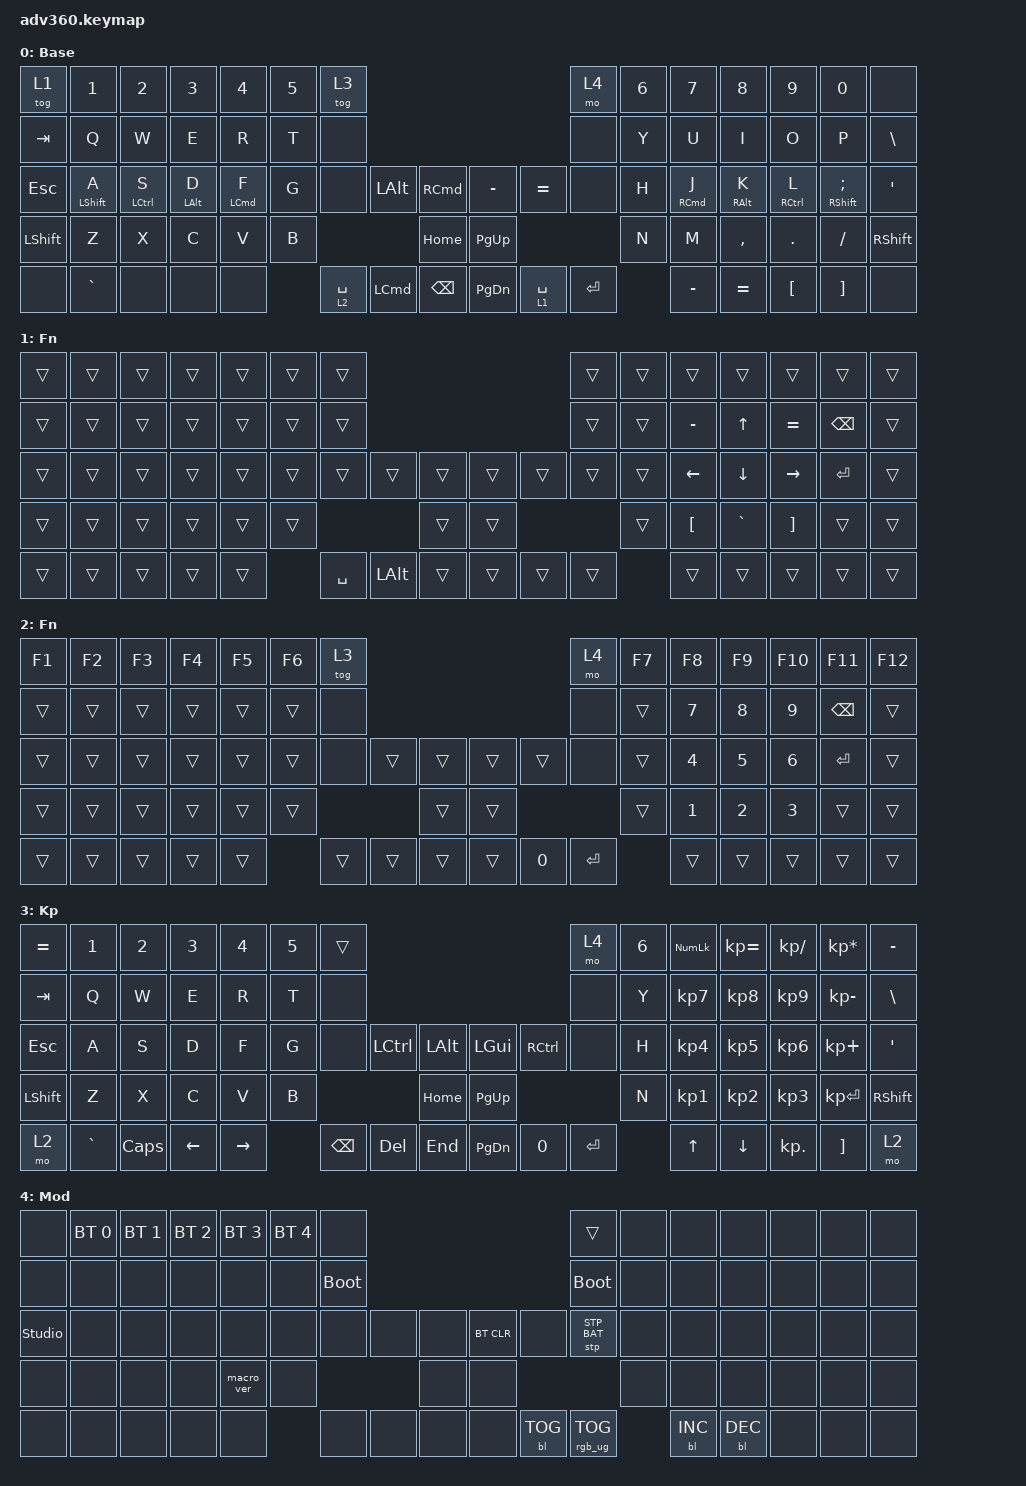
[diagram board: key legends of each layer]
#include <dt-bindings/zmk/stp.h>
#include <behaviors.dtsi>
#include <dt-bindings/zmk/backlight.h>
#include <dt-bindings/zmk/bt.h>
#include <dt-bindings/zmk/keys.h>
#include <dt-bindings/zmk/rgb.h>

/ {
    behaviors {
        #include "macros.dtsi"
      #include "version.dtsi"

        hm: homerow_mods {
            compatible = "zmk,behavior-hold-tap";
            label = "HOMEROW_MODS";
            #binding-cells = <2>;
            tapping-term-ms = <200>;
            quick_tap_ms = <175>;
            flavor = "tap-preferred";
            bindings = <&kp>, <&kp>;

            quick-tap-ms = <175>;
        };

        hm_mo_layer: hm_mo_layer {
            compatible = "zmk,behavior-hold-tap";
            label = "HM_MO_LAYER";
            bindings = <&mo>, <&kp>;

            #binding-cells = <2>;
            tapping-term-ms = <200>;
            flavor = "tap-preferred";
        };

        hm_toggle_layer: hm_toggle_layer {
            compatible = "zmk,behavior-hold-tap";
            label = "HM_TOGGLE_LAYER";
            bindings = <&tog>, <&kp>;

            #binding-cells = <2>;
            tapping-term-ms = <200>;
        };
    };

    keymap {
        compatible = "zmk,keymap";

        default_layer {
            display-name = "Base";
            bindings = <
&tog 1          &kp N1            &kp N2              &kp N3          &kp N4              &kp N5  &tog 3                                                                                          &mo 4      &kp N6  &kp N7               &kp N8           &kp N9               &kp N0                &none
&kp TAB         &kp Q             &kp W               &kp E           &kp R               &kp T   &none                                                                                           &none      &kp Y   &kp U                &kp I            &kp O                &kp P                 &kp BSLH
&kp ESC         &hm LEFT_SHIFT A  &hm LEFT_CONTROL S  &hm LEFT_ALT D  &hm LEFT_COMMAND F  &kp G   &none                 &kp LEFT_ALT      &kp RIGHT_COMMAND      &kp MINUS  &kp EQUAL             &none      &kp H   &hm RIGHT_COMMAND J  &hm RIGHT_ALT K  &hm RIGHT_CONTROL L  &hm RIGHT_SHIFT SEMI  &kp SQT
&kp LEFT_SHIFT  &kp Z             &kp X               &kp C           &kp V               &kp B                                           &kp HOME               &kp PG_UP                                   &kp N   &kp M                &kp COMMA        &kp DOT              &kp FSLH              &kp RSHFT
&none           &kp GRAVE         &none               &none           &none                       &hm_mo_layer 2 SPACE  &kp LEFT_COMMAND  &kp BACKSPACE          &kp PG_DN  &hm_mo_layer 1 SPACE  &kp ENTER          &kp MINUS            &kp EQUAL        &kp LBKT             &kp RBKT              &none
            >;
        };

        Nagivation {
            display-name = "Fn";
            bindings = <
&trans  &trans  &trans  &trans  &trans  &trans  &trans                                               &trans  &trans  &trans     &trans     &trans             &trans         &trans
&trans  &trans  &trans  &trans  &trans  &trans  &trans                                               &trans  &trans  &kp MINUS  &kp UP     &kp EQUAL          &kp BACKSPACE  &trans
&trans  &trans  &trans  &trans  &trans  &trans  &trans     &trans        &trans      &trans  &trans  &trans  &trans  &kp LEFT   &kp DOWN   &kp RIGHT          &kp ENTER      &trans
&trans  &trans  &trans  &trans  &trans  &trans                           &trans      &trans                  &trans  &kp LBKT   &kp GRAVE  &kp RIGHT_BRACKET  &trans         &trans
&trans  &trans  &trans  &trans  &trans          &kp SPACE  &kp LEFT_ALT  &trans      &trans  &trans  &trans          &trans     &trans     &trans             &trans         &trans
            >;
        };

        fn+numpad {
            display-name = "Fn";
            bindings = <
&kp F1  &kp F2  &kp F3  &kp F4  &kp F5  &kp F6  &tog 3                                      &mo 4      &kp F7  &kp F8  &kp F9  &kp F10  &kp F11        &kp F12
&trans  &trans  &trans  &trans  &trans  &trans  &none                                       &none      &trans  &kp N7  &kp N8  &kp N9   &kp BACKSPACE  &trans
&trans  &trans  &trans  &trans  &trans  &trans  &none   &trans  &trans      &trans  &trans  &none      &trans  &kp N4  &kp N5  &kp N6   &kp ENTER      &trans
&trans  &trans  &trans  &trans  &trans  &trans                  &trans      &trans                     &trans  &kp N1  &kp N2  &kp N3   &trans         &trans
&trans  &trans  &trans  &trans  &trans          &trans  &trans  &trans      &trans  &kp N0  &kp ENTER          &trans  &trans  &trans   &trans         &trans
            >;
        };

        keypad {
            display-name = "Kp";
            bindings = <
&kp EQUAL  &kp N1     &kp N2    &kp N3    &kp N4     &kp N5  &trans                                                   &mo 4      &kp N6  &kp KP_NUM  &kp KP_EQUAL  &kp KP_DIVIDE  &kp KP_MULTIPLY  &kp MINUS
&kp TAB    &kp Q      &kp W     &kp E     &kp R      &kp T   &none                                                    &none      &kp Y   &kp KP_N7   &kp KP_N8     &kp KP_N9      &kp KP_MINUS     &kp BSLH
&kp ESC    &kp A      &kp S     &kp D     &kp F      &kp G   &none     &kp LCTRL  &kp LALT      &kp LGUI   &kp RCTRL  &none      &kp H   &kp KP_N4   &kp KP_N5     &kp KP_N6      &kp KP_PLUS      &kp SQT
&kp LSHFT  &kp Z      &kp X     &kp C     &kp V      &kp B                        &kp HOME      &kp PG_UP                        &kp N   &kp KP_N1   &kp KP_N2     &kp KP_N3      &kp KP_ENTER     &kp RSHFT
&mo 2      &kp GRAVE  &kp CAPS  &kp LEFT  &kp RIGHT          &kp BSPC  &kp DEL    &kp END       &kp PG_DN  &kp N0     &kp ENTER          &kp UP      &kp DOWN      &kp KP_DOT     &kp RBKT         &mo 2
            >;
        };

        mod {
            display-name = "Mod";
            bindings = <
&none           &bt BT_SEL 0  &bt BT_SEL 1  &bt BT_SEL 2  &bt BT_SEL 3  &bt BT_SEL 4  &none                                                  &trans           &none  &none       &none       &none  &none  &none
&none           &none         &none         &none         &none         &none         &bootloader                                            &bootloader      &none  &none       &none       &none  &none  &none
&studio_unlock  &none         &none         &none         &none         &none         &none        &none  &none      &bt BT_CLR  &none       &stp STP_BAT     &none  &none       &none       &none  &none  &none
&none           &none         &none         &none         &macro_ver    &none                             &none      &none                                    &none  &none       &none       &none  &none  &none
&none           &none         &none         &none         &none                       &none        &none  &none      &none       &bl BL_TOG  &rgb_ug RGB_TOG         &bl BL_INC  &bl BL_DEC  &none  &none  &none
            >;
        };

        extra1 {
            display-name = "Red";
            status = "reserved";
        };

        extra2 {
            display-name = "Purple";
            status = "reserved";
        };

        extra3 {
            display-name = "Cyan";
            status = "reserved";
        };

        extra4 {
            display-name = "Yellow";
            status = "reserved";
        };
    };
};
